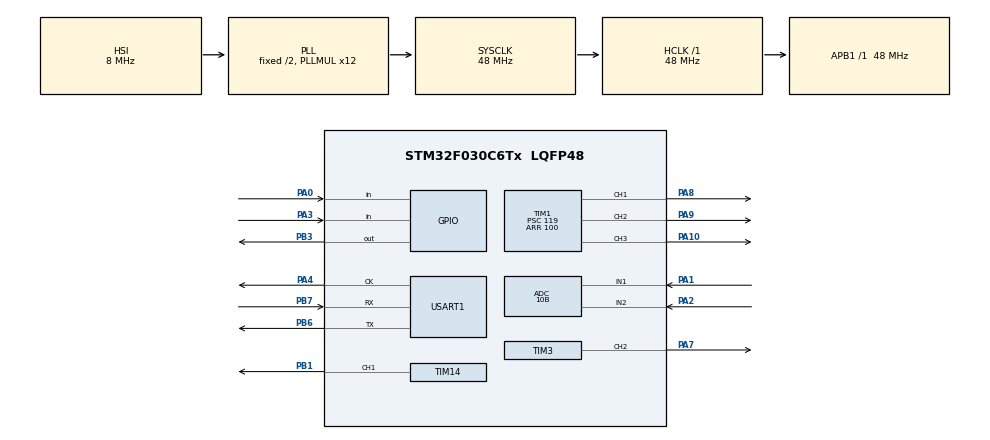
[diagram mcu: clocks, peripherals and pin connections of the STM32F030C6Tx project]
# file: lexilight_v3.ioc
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ADC.ContinuousConvMode=ENABLE
ADC.DMAContinuousRequests=ENABLE
ADC.Resolution=ADC_RESOLUTION_10B
ADC.SamplingTime=ADC_SAMPLETIME_239CYCLES_5
Dma.ADC.0.Direction=DMA_PERIPH_TO_MEMORY
Dma.ADC.0.Instance=DMA1_Channel1
Dma.ADC.0.MemDataAlignment=DMA_MDATAALIGN_WORD
Dma.ADC.0.MemInc=DMA_MINC_ENABLE
Dma.ADC.0.Mode=DMA_CIRCULAR
Dma.ADC.0.PeriphDataAlignment=DMA_PDATAALIGN_WORD
Dma.ADC.0.PeriphInc=DMA_PINC_DISABLE
Dma.ADC.0.Priority=DMA_PRIORITY_LOW
Dma.Request0=ADC
Mcu.Family=STM32F0
Mcu.Name=STM32F030C6Tx
Mcu.Package=LQFP48
NVIC.DMA1_Channel1_IRQn=true\:0\:0\:false\:false\:true\:false\:true
PA0.GPIO_PuPd=GPIO_PULLUP
PA0.Signal=GPIO_Input
PA1.Mode=IN1
PA1.Signal=ADC_IN1
PA10.Signal=S_TIM1_CH3
PA13.Mode=Serial_Wire
PA13.Signal=SYS_SWDIO
PA14.Mode=Serial_Wire
PA14.Signal=SYS_SWCLK
PA2.Mode=IN2
PA2.Signal=ADC_IN2
PA3.GPIO_PuPd=GPIO_PULLDOWN
PA3.Signal=GPIO_Input
PA4.Mode=Synchronous
PA4.Signal=USART1_CK
PA7.Signal=S_TIM3_CH2
PA8.Signal=S_TIM1_CH1
PA9.Signal=S_TIM1_CH2
PB1.Signal=S_TIM14_CH1
PB3.Signal=GPIO_Output
PB6.Mode=Synchronous
PB6.Signal=USART1_TX
PB7.Mode=Synchronous
PB7.Signal=USART1_RX
ProjectManager.HeapSize=0x200
ProjectManager.StackSize=0x400
ProjectManager.TargetToolchain=MDK-ARM V5
RCC.AHBFreq_Value=48000000
RCC.APB1Freq_Value=48000000
RCC.APB1TimFreq_Value=48000000
RCC.HCLKFreq_Value=48000000
RCC.PLLMUL=RCC_PLL_MUL12
RCC.SYSCLKFreq_VALUE=48000000
RCC.SYSCLKSource=RCC_SYSCLKSOURCE_PLLCLK
SH.S_TIM14_CH1.0=TIM14_CH1,PWM Generation1 CH1
SH.S_TIM1_CH1.0=TIM1_CH1,PWM Generation1 CH1
SH.S_TIM1_CH2.0=TIM1_CH2,PWM Generation2 CH2
SH.S_TIM1_CH3.0=TIM1_CH3,PWM Generation3 CH3
SH.S_TIM3_CH2.0=TIM3_CH2,PWM Generation2 CH2
TIM1.Channel-PWM\ Generation1\ CH1=TIM_CHANNEL_1
TIM1.Channel-PWM\ Generation2\ CH2=TIM_CHANNEL_2
TIM1.Channel-PWM\ Generation3\ CH3=TIM_CHANNEL_3
TIM1.Period=100
TIM1.Prescaler=119
TIM14.Channel=TIM_CHANNEL_1
TIM14.Period=100
TIM14.Prescaler=119
TIM3.Channel-PWM\ Generation2\ CH2=TIM_CHANNEL_2
TIM3.Period=100
TIM3.Prescaler=119
USART1.VirtualMode-Synchronous=VM_SYNC
VP_TIM14_VS_ClockSourceINT.Mode=Enable_Timer
board=custom

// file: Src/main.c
/* USER CODE BEGIN Header */
/**
  ******************************************************************************
  * @file           : main.c
  * @brief          : Main program body
  ******************************************************************************
  * @attention
  *
  * <h2><center>&copy; Copyright (c) 2019 STMicroelectronics.
  * All rights reserved.</center></h2>
  *
  * This software component is licensed by ST under BSD 3-Clause license,
  * the "License"; You may not use this file except in compliance with the
  * License. You may obtain a copy of the License at:
  *                        opensource.org/licenses/BSD-3-Clause
  *
  ******************************************************************************
  */
/* USER CODE END Header */

#include "main.h"

/* USER CODE BEGIN Includes */
#include "lexilight.h"
/* USER CODE END Includes */

ADC_HandleTypeDef hadc;
DMA_HandleTypeDef hdma_adc;

TIM_HandleTypeDef htim1;
TIM_HandleTypeDef htim3;
TIM_HandleTypeDef htim14;

USART_HandleTypeDef husart1;

void SystemClock_Config(void);
static void MX_GPIO_Init(void);
static void MX_DMA_Init(void);
static void MX_ADC_Init(void);
static void MX_TIM1_Init(void);
static void MX_TIM3_Init(void);
static void MX_TIM14_Init(void);
static void MX_USART1_Init(void);

/* USER CODE BEGIN 0 */
uint32_t ADC_raw[2];
/* USER CODE END 0 */

int main(void)
{

  /* MCU Configuration--------------------------------------------------------*/

  /* Reset of all peripherals, Initializes the Flash interface and the Systick. */
  HAL_Init();

  /* Configure the system clock */
  SystemClock_Config();

  /* Initialize all configured peripherals */
  MX_GPIO_Init();
  MX_DMA_Init();
  MX_ADC_Init();
  MX_TIM1_Init();
  MX_TIM3_Init();
  MX_TIM14_Init();
  MX_USART1_Init();
  /* USER CODE BEGIN 2 */
	Lexi_Init_Data();														//Init Data LexiLight
	HAL_TIM_PWM_Start(&htim3, TIM_CHANNEL_2);		//Start PWM TIM3 Channel 2
	HAL_TIM_PWM_Start(&htim14, TIM_CHANNEL_1);	//Start PWM TIM14 Channel 1
	HAL_TIM_Base_Start(&htim1);									//Start TIM1
	HAL_TIM_PWM_Start(&htim1, TIM_CHANNEL_1);		//Start PWM TIM1 Channel 1
	HAL_TIM_PWM_Start(&htim1, TIM_CHANNEL_2);		//Start PWM TIM1 Channel 2
	HAL_TIM_PWM_Start(&htim1, TIM_CHANNEL_3);		//Start PWM TIM1 Channel 3
	__HAL_TIM_SET_COMPARE(&htim3 , TIM_CHANNEL_2,0);	//Set Duty = 0
	__HAL_TIM_SET_COMPARE(&htim14, TIM_CHANNEL_1,0);	//Set Duty = 0
	__HAL_TIM_SET_COMPARE(&htim1 , TIM_CHANNEL_1,0);	//Set Duty = 0
	__HAL_TIM_SET_COMPARE(&htim1 , TIM_CHANNEL_2,0);	//Set Duty = 0
	__HAL_TIM_SET_COMPARE(&htim1 , TIM_CHANNEL_3,0);	//Set Duty = 0
	HAL_ADC_Start_DMA(&hadc, ADC_raw , 2);			//If read ADC data, data will be write into variable ADC_raw
  /* USER CODE END 2 */

  /* Infinite loop */
  /* USER CODE BEGIN WHILE */
  while (1)
  {
		//Pause 20ms
		HAL_Delay(20);

		//Lexiligh_Main_Task
		Lexi_Task (htim3, htim14, ADC_raw);
		//Check Bouton ON_OFF

		if (!HAL_GPIO_ReadPin(GPIOA, GPIO_PIN_0))  //Detect Push
		{
			//If push, get time now
			Lexi_RecordTime_ON_OFF_Start();
			while(!HAL_GPIO_ReadPin(GPIOA, GPIO_PIN_0)){
				Lexi_RecordTime_ON_OFF_End();
				if ( Lexi_Detect_Long_Push_ON_OFF() ){
					//Turn Off
					Lexi_Switch_State_On_Off(htim1, htim3);
				}
			}	//Wait for Pull
			if ( !Lexi_Detect_Long_Push_ON_OFF() )
			{
				Lexi_Switch_State_On_Off(htim1, htim3);	//When detect push, switch state light ON OFF (view detail in lexilight.c)
			}
		}

		//Check Bouton Capatitive

		if (HAL_GPIO_ReadPin(GPIOA, GPIO_PIN_3))  //Detect Push
		{
			while(HAL_GPIO_ReadPin(GPIOA, GPIO_PIN_3)){} //Wait for Pull
			Lexi_Switch_Lum_Level();	//When detect push, switch level luminosity (view detail in lexilight.c)
		}

  }
    /* USER CODE END WHILE */

}

void SystemClock_Config(void)
{
  RCC_OscInitTypeDef RCC_OscInitStruct = {0};
  RCC_ClkInitTypeDef RCC_ClkInitStruct = {0};
  RCC_PeriphCLKInitTypeDef PeriphClkInit = {0};

  /** Initializes the CPU, AHB and APB busses clocks
  */
  RCC_OscInitStruct.OscillatorType = RCC_OSCILLATORTYPE_HSI|RCC_OSCILLATORTYPE_HSI14;
  RCC_OscInitStruct.HSIState = RCC_HSI_ON;
  RCC_OscInitStruct.HSI14State = RCC_HSI14_ON;
  RCC_OscInitStruct.HSICalibrationValue = RCC_HSICALIBRATION_DEFAULT;
  RCC_OscInitStruct.HSI14CalibrationValue = 16;
  RCC_OscInitStruct.PLL.PLLState = RCC_PLL_ON;
  RCC_OscInitStruct.PLL.PLLSource = RCC_PLLSOURCE_HSI;
  RCC_OscInitStruct.PLL.PLLMUL = RCC_PLL_MUL12;
  RCC_OscInitStruct.PLL.PREDIV = RCC_PREDIV_DIV1;
  if (HAL_RCC_OscConfig(&RCC_OscInitStruct) != HAL_OK)
  {
    Error_Handler();
  }
  /** Initializes the CPU, AHB and APB busses clocks
  */
  RCC_ClkInitStruct.ClockType = RCC_CLOCKTYPE_HCLK|RCC_CLOCKTYPE_SYSCLK
                              |RCC_CLOCKTYPE_PCLK1;
  RCC_ClkInitStruct.SYSCLKSource = RCC_SYSCLKSOURCE_PLLCLK;
  RCC_ClkInitStruct.AHBCLKDivider = RCC_SYSCLK_DIV1;
  RCC_ClkInitStruct.APB1CLKDivider = RCC_HCLK_DIV1;

  if (HAL_RCC_ClockConfig(&RCC_ClkInitStruct, FLASH_LATENCY_1) != HAL_OK)
  {
    Error_Handler();
  }
  PeriphClkInit.PeriphClockSelection = RCC_PERIPHCLK_USART1;
  PeriphClkInit.Usart1ClockSelection = RCC_USART1CLKSOURCE_PCLK1;
  if (HAL_RCCEx_PeriphCLKConfig(&PeriphClkInit) != HAL_OK)
  {
    Error_Handler();
  }
}

static void MX_ADC_Init(void)
{

  ADC_ChannelConfTypeDef sConfig = {0};

  /** Configure the global features of the ADC (Clock, Resolution, Data Alignment and number of conversion)
  */
  hadc.Instance = ADC1;
  hadc.Init.ClockPrescaler = ADC_CLOCK_ASYNC_DIV1;
  hadc.Init.Resolution = ADC_RESOLUTION_10B;
  hadc.Init.DataAlign = ADC_DATAALIGN_RIGHT;
  hadc.Init.ScanConvMode = ADC_SCAN_DIRECTION_FORWARD;
  hadc.Init.EOCSelection = ADC_EOC_SINGLE_CONV;
  hadc.Init.LowPowerAutoWait = DISABLE;
  hadc.Init.LowPowerAutoPowerOff = DISABLE;
  hadc.Init.ContinuousConvMode = ENABLE;
  hadc.Init.DiscontinuousConvMode = DISABLE;
  hadc.Init.ExternalTrigConv = ADC_SOFTWARE_START;
  hadc.Init.ExternalTrigConvEdge = ADC_EXTERNALTRIGCONVEDGE_NONE;
  hadc.Init.DMAContinuousRequests = ENABLE;
  hadc.Init.Overrun = ADC_OVR_DATA_PRESERVED;
  if (HAL_ADC_Init(&hadc) != HAL_OK)
  {
    Error_Handler();
  }
  /** Configure for the selected ADC regular channel to be converted.
  */
  sConfig.Channel = ADC_CHANNEL_1;
  sConfig.Rank = ADC_RANK_CHANNEL_NUMBER;
  sConfig.SamplingTime = ADC_SAMPLETIME_239CYCLES_5;
  if (HAL_ADC_ConfigChannel(&hadc, &sConfig) != HAL_OK)
  {
    Error_Handler();
  }
  /** Configure for the selected ADC regular channel to be converted.
  */
  sConfig.Channel = ADC_CHANNEL_2;
  if (HAL_ADC_ConfigChannel(&hadc, &sConfig) != HAL_OK)
  {
    Error_Handler();
  }
  /* USER CODE BEGIN ADC_Init 2 */
	HAL_ADCEx_Calibration_Start(&hadc);
  /* USER CODE END ADC_Init 2 */

}

static void MX_TIM1_Init(void)
{

  TIM_MasterConfigTypeDef sMasterConfig = {0};
  TIM_OC_InitTypeDef sConfigOC = {0};
  TIM_BreakDeadTimeConfigTypeDef sBreakDeadTimeConfig = {0};

  htim1.Instance = TIM1;
  htim1.Init.Prescaler = 119;
  htim1.Init.CounterMode = TIM_COUNTERMODE_UP;
  htim1.Init.Period = 100;
  htim1.Init.ClockDivision = TIM_CLOCKDIVISION_DIV1;
  htim1.Init.RepetitionCounter = 0;
  htim1.Init.AutoReloadPreload = TIM_AUTORELOAD_PRELOAD_DISABLE;
  if (HAL_TIM_PWM_Init(&htim1) != HAL_OK)
  {
    Error_Handler();
  }
  sMasterConfig.MasterOutputTrigger = TIM_TRGO_RESET;
  sMasterConfig.MasterSlaveMode = TIM_MASTERSLAVEMODE_DISABLE;
  if (HAL_TIMEx_MasterConfigSynchronization(&htim1, &sMasterConfig) != HAL_OK)
  {
    Error_Handler();
  }
  sConfigOC.OCMode = TIM_OCMODE_PWM1;
  sConfigOC.Pulse = 0;
  sConfigOC.OCPolarity = TIM_OCPOLARITY_HIGH;
  sConfigOC.OCNPolarity = TIM_OCNPOLARITY_HIGH;
  sConfigOC.OCFastMode = TIM_OCFAST_DISABLE;
  sConfigOC.OCIdleState = TIM_OCIDLESTATE_RESET;
  sConfigOC.OCNIdleState = TIM_OCNIDLESTATE_RESET;
  if (HAL_TIM_PWM_ConfigChannel(&htim1, &sConfigOC, TIM_CHANNEL_1) != HAL_OK)
  {
    Error_Handler();
  }
  if (HAL_TIM_PWM_ConfigChannel(&htim1, &sConfigOC, TIM_CHANNEL_2) != HAL_OK)
  {
    Error_Handler();
  }
  if (HAL_TIM_PWM_ConfigChannel(&htim1, &sConfigOC, TIM_CHANNEL_3) != HAL_OK)
  {
    Error_Handler();
  }
  sBreakDeadTimeConfig.OffStateRunMode = TIM_OSSR_DISABLE;
  sBreakDeadTimeConfig.OffStateIDLEMode = TIM_OSSI_DISABLE;
  sBreakDeadTimeConfig.LockLevel = TIM_LOCKLEVEL_OFF;
  sBreakDeadTimeConfig.DeadTime = 0;
  sBreakDeadTimeConfig.BreakState = TIM_BREAK_DISABLE;
  sBreakDeadTimeConfig.BreakPolarity = TIM_BREAKPOLARITY_HIGH;
  sBreakDeadTimeConfig.AutomaticOutput = TIM_AUTOMATICOUTPUT_DISABLE;
  if (HAL_TIMEx_ConfigBreakDeadTime(&htim1, &sBreakDeadTimeConfig) != HAL_OK)
  {
    Error_Handler();
  }
  HAL_TIM_MspPostInit(&htim1);

}

static void MX_TIM3_Init(void)
{

  TIM_MasterConfigTypeDef sMasterConfig = {0};
  TIM_OC_InitTypeDef sConfigOC = {0};

  htim3.Instance = TIM3;
  htim3.Init.Prescaler = 119;
  htim3.Init.CounterMode = TIM_COUNTERMODE_UP;
  htim3.Init.Period = 100;
  htim3.Init.ClockDivision = TIM_CLOCKDIVISION_DIV1;
  htim3.Init.AutoReloadPreload = TIM_AUTORELOAD_PRELOAD_DISABLE;
  if (HAL_TIM_PWM_Init(&htim3) != HAL_OK)
  {
    Error_Handler();
  }
  sMasterConfig.MasterOutputTrigger = TIM_TRGO_RESET;
  sMasterConfig.MasterSlaveMode = TIM_MASTERSLAVEMODE_DISABLE;
  if (HAL_TIMEx_MasterConfigSynchronization(&htim3, &sMasterConfig) != HAL_OK)
  {
    Error_Handler();
  }
  sConfigOC.OCMode = TIM_OCMODE_PWM1;
  sConfigOC.Pulse = 0;
  sConfigOC.OCPolarity = TIM_OCPOLARITY_HIGH;
  sConfigOC.OCFastMode = TIM_OCFAST_DISABLE;
  if (HAL_TIM_PWM_ConfigChannel(&htim3, &sConfigOC, TIM_CHANNEL_2) != HAL_OK)
  {
    Error_Handler();
  }
  HAL_TIM_MspPostInit(&htim3);

}

static void MX_TIM14_Init(void)
{

  TIM_OC_InitTypeDef sConfigOC = {0};

  htim14.Instance = TIM14;
  htim14.Init.Prescaler = 119;
  htim14.Init.CounterMode = TIM_COUNTERMODE_UP;
  htim14.Init.Period = 100;
  htim14.Init.ClockDivision = TIM_CLOCKDIVISION_DIV1;
  htim14.Init.AutoReloadPreload = TIM_AUTORELOAD_PRELOAD_DISABLE;
  if (HAL_TIM_Base_Init(&htim14) != HAL_OK)
  {
    Error_Handler();
  }
  if (HAL_TIM_PWM_Init(&htim14) != HAL_OK)
  {
    Error_Handler();
  }
  sConfigOC.OCMode = TIM_OCMODE_PWM1;
  sConfigOC.Pulse = 0;
  sConfigOC.OCPolarity = TIM_OCPOLARITY_HIGH;
  sConfigOC.OCFastMode = TIM_OCFAST_DISABLE;
  if (HAL_TIM_PWM_ConfigChannel(&htim14, &sConfigOC, TIM_CHANNEL_1) != HAL_OK)
  {
    Error_Handler();
  }
  HAL_TIM_MspPostInit(&htim14);

}

static void MX_USART1_Init(void)
{

  husart1.Instance = USART1;
  husart1.Init.BaudRate = 38400;
  husart1.Init.WordLength = USART_WORDLENGTH_8B;
  husart1.Init.StopBits = USART_STOPBITS_1;
  husart1.Init.Parity = USART_PARITY_NONE;
  husart1.Init.Mode = USART_MODE_TX_RX;
  husart1.Init.CLKPolarity = USART_POLARITY_LOW;
  husart1.Init.CLKPhase = USART_PHASE_1EDGE;
  husart1.Init.CLKLastBit = USART_LASTBIT_DISABLE;
  if (HAL_USART_Init(&husart1) != HAL_OK)
  {
    Error_Handler();
  }

}

static void MX_DMA_Init(void)
{
  /* DMA controller clock enable */
  __HAL_RCC_DMA1_CLK_ENABLE();

  /* DMA interrupt init */
  /* DMA1_Channel1_IRQn interrupt configuration */
  HAL_NVIC_SetPriority(DMA1_Channel1_IRQn, 0, 0);
  HAL_NVIC_EnableIRQ(DMA1_Channel1_IRQn);

}

static void MX_GPIO_Init(void)
{
  GPIO_InitTypeDef GPIO_InitStruct = {0};

  /* GPIO Ports Clock Enable */
  __HAL_RCC_GPIOA_CLK_ENABLE();
  __HAL_RCC_GPIOB_CLK_ENABLE();

  /*Configure GPIO pin Output Level */
  HAL_GPIO_WritePin(GPIOB, GPIO_PIN_3, GPIO_PIN_RESET);

  /*Configure GPIO pin : PA0 */
  GPIO_InitStruct.Pin = GPIO_PIN_0;
  GPIO_InitStruct.Mode = GPIO_MODE_INPUT;
  GPIO_InitStruct.Pull = GPIO_PULLUP;
  HAL_GPIO_Init(GPIOA, &GPIO_InitStruct);

  /*Configure GPIO pin : PA3 */
  GPIO_InitStruct.Pin = GPIO_PIN_3;
  GPIO_InitStruct.Mode = GPIO_MODE_INPUT;
  GPIO_InitStruct.Pull = GPIO_PULLDOWN;
  HAL_GPIO_Init(GPIOA, &GPIO_InitStruct);

  /*Configure GPIO pin : PB3 */
  GPIO_InitStruct.Pin = GPIO_PIN_3;
  GPIO_InitStruct.Mode = GPIO_MODE_OUTPUT_PP;
  GPIO_InitStruct.Pull = GPIO_NOPULL;
  GPIO_InitStruct.Speed = GPIO_SPEED_FREQ_LOW;
  HAL_GPIO_Init(GPIOB, &GPIO_InitStruct);

}

void Error_Handler(void)
{
}

/************************ (C) COPYRIGHT STMicroelectronics *****END OF FILE****/
